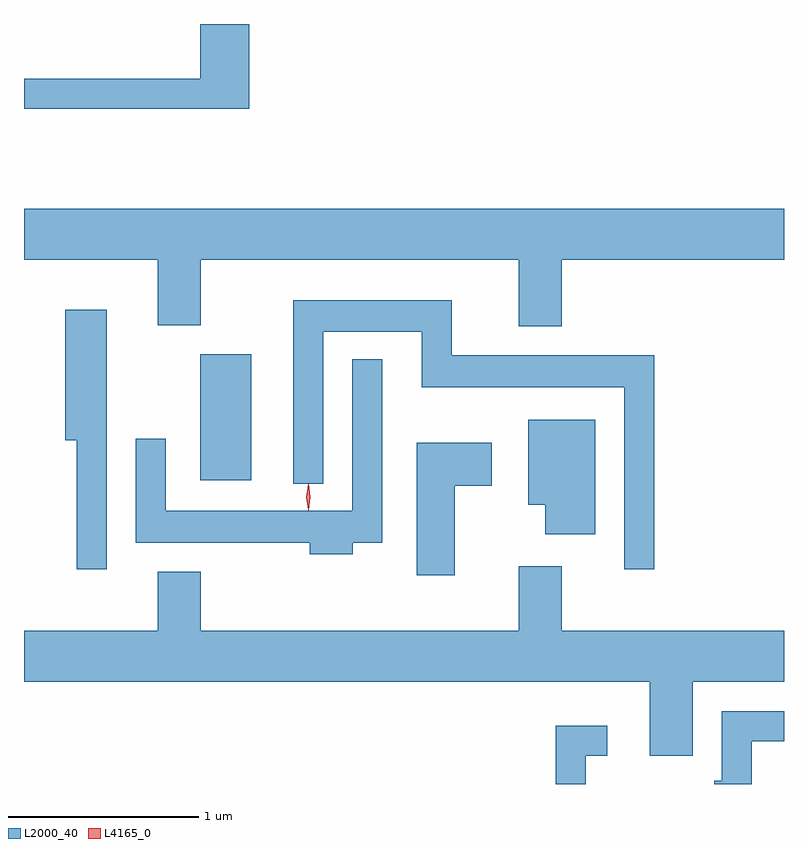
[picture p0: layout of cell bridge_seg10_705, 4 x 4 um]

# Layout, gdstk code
import gdstk
lib = gdstk.Library(unit=1e-6, precision=1e-09)
def R(c, l, rs):  # rectangles x0, y0, x1, y1
    for r in rs: c.add(gdstk.rectangle(r[:2], r[2:], *l))
def P(c, l, *ps):  # polygons
    for p in ps: c.add(gdstk.Polygon(p, *l))
L2000_40 = (2000, 40)
L4165_0 = (4165, 0)

bridge_seg10_705 = lib.new_cell('bridge_seg10_705')
R(bridge_seg10_705, L2000_40, [(856.476,2143.836,856.744,2144.499)])
P(bridge_seg10_705, L2000_40, [(856.734,2146.237),(856.476,2146.237),(856.476,2145.949),(855.548,2145.949),(855.548,2145.791),(856.734,2145.791)],
  [(858.379,2144.996),(859.548,2144.996),(859.548,2145.264),(855.548,2145.264),(855.548,2144.996),(856.251,2144.996),(856.251,2144.651),(856.479,2144.651),(856.479,2144.996),(858.151,2144.996),(858.151,2144.646),(858.379,2144.646)],
  [(858.864,2144.494),(857.799,2144.494),(857.799,2144.784),(856.966,2144.784),(856.966,2143.818),(857.124,2143.818),(857.124,2144.616),(857.641,2144.616),(857.641,2144.326),(858.706,2144.326),(858.706,2143.368),(858.864,2143.368)],
  [(855.984,2144.734),(855.766,2144.734),(855.766,2144.046),(855.826,2144.046),(855.826,2143.368),(855.984,2143.368)],
  [(857.279,2143.506),(857.434,2143.506),(857.434,2144.473),(857.276,2144.473),(857.276,2143.674),(856.294,2143.674),(856.294,2144.053),(856.136,2144.053),(856.136,2143.506),(857.051,2143.506),(857.051,2143.446),(857.279,2143.446)],
  [(858.554,2144.154),(858.201,2144.154),(858.201,2143.706),(858.291,2143.706),(858.291,2143.551),(858.554,2143.551)],
  [(857.814,2143.806),(858.009,2143.806),(858.009,2144.034),(857.616,2144.034),(857.616,2143.336),(857.814,2143.336)],
  [(859.069,2142.776),(859.548,2142.776),(859.548,2143.044),(858.379,2143.044),(858.379,2143.384),(858.151,2143.384),(858.151,2143.044),(856.479,2143.044),(856.479,2143.354),(856.251,2143.354),(856.251,2143.044),(855.548,2143.044),(855.548,2142.776),(858.841,2142.776),(858.841,2142.386),(859.069,2142.386)],
  [(859.379,2142.461),(859.548,2142.461),(859.548,2142.619),(859.221,2142.619),(859.221,2142.254),(859.181,2142.254),(859.181,2142.237),(859.379,2142.237)],
  [(858.504,2142.386),(858.618,2142.386),(858.618,2142.544),(858.346,2142.544),(858.346,2142.237),(858.504,2142.237)])
P(bridge_seg10_705, L4165_0, [(857.044,2143.679),(857.043,2143.68),(857.034,2143.746),(857.043,2143.812),(857.044,2143.813),(857.044,2143.812),(857.054,2143.746),(857.044,2143.68)],
  [(857.044,2143.677),(857.035,2143.746),(857.044,2143.816),(857.045,2143.816),(857.046,2143.816),(857.055,2143.746),(857.046,2143.677),(857.045,2143.677)])

lib.write_gds('bridge_seg10_705.gds')
